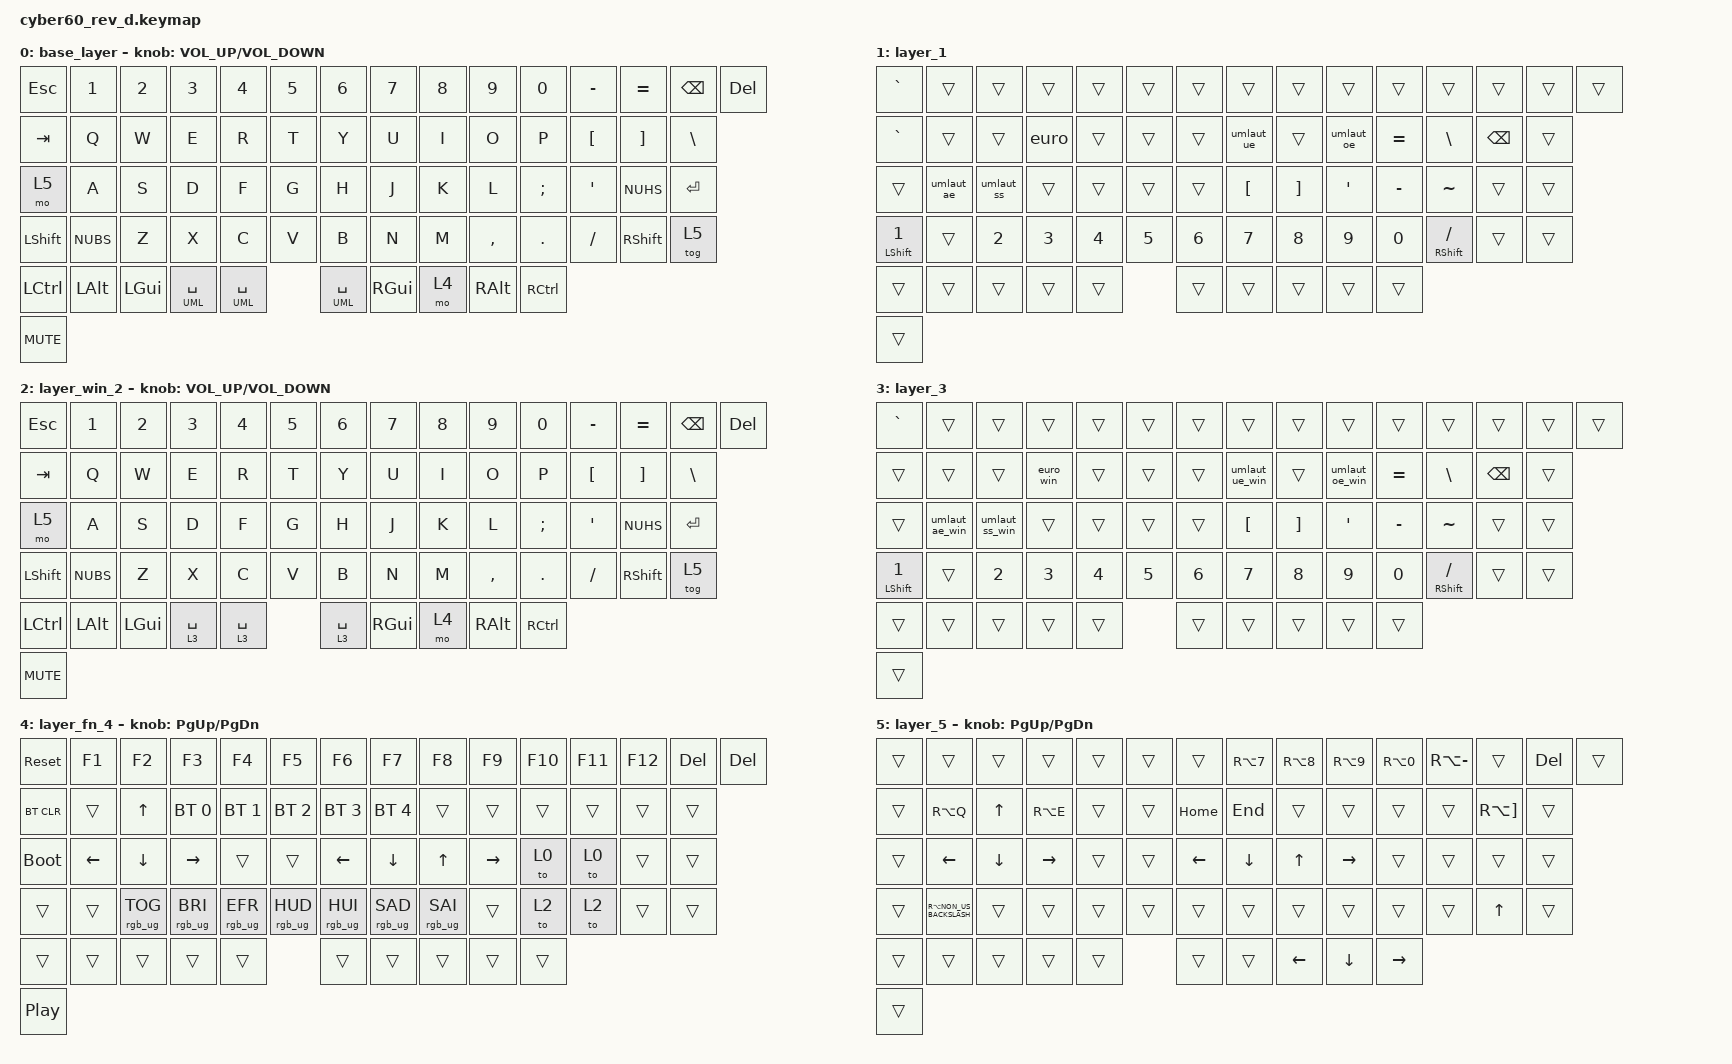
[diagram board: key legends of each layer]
#include <behaviors.dtsi>
#include <dt-bindings/zmk/bt.h>
#include <dt-bindings/zmk/keys.h>
#include <dt-bindings/zmk/rgb.h>
#include <behaviors/unicode.dtsi>

#define FN1 1
#define UML 1
&uc {
  default-mode = <UC_MODE_LINUX>;  // Replace with desired input system.
};
/ {
    macros {
        umlaut_ae: umlaut_ae {
            compatible = "zmk,behavior-macro";
            label = "UMLAUT_AE";
            #binding-cells = <0>;
            wait-ms = <40>;
            tap-ms = <40>;
            bindings
                = <&kp RCTRL>
                , <&kp DQT>
                , <&kp A>;
        };

        umlaut_oe: umlaut_oe {
            compatible = "zmk,behavior-macro";
            label = "UMLAUT_OE";
            #binding-cells = <0>;
            wait-ms = <40>;
            tap-ms = <40>;
            bindings
                = <&kp RCTRL>
                , <&kp DQT>
                , <&kp O>;
        };

        umlaut_ue: umlaut_ue {
            compatible = "zmk,behavior-macro";
            label = "UMLAUT_UE";
            #binding-cells = <0>;
            wait-ms = <40>;
            tap-ms = <40>;
            bindings
                = <&kp RCTRL>
                , <&kp DQT>
                , <&kp U>;
        };

        umlaut_ss: umlaut_ss {
            compatible = "zmk,behavior-macro";
            label = "UMLAUT_SS";
            #binding-cells = <0>;
            wait-ms = <40>;
            tap-ms = <40>;
            bindings
                = <&kp RCTRL>
                , <&kp S>
                , <&kp S>;
        };

        euro: euro {
            compatible = "zmk,behavior-macro";
            label = "EURO";
            #binding-cells = <0>;
            wait-ms = <40>;
            tap-ms = <40>;
            bindings
                = <&kp RCTRL>
                , <&kp EQUAL>
                , <&kp E>;
        };



        umlaut_ae_win: umlaut_ae_win {
            compatible = "zmk,behavior-macro";
            label = "UMLAUT_AE_WIN";
            #binding-cells = <0>;
            wait-ms = <40>;
            tap-ms = <40>;
            bindings
                = <&kp DQT>
                , <&kp A>;
        };

        umlaut_oe_win: umlaut_oe_win {
            compatible = "zmk,behavior-macro";
            label = "UMLAUT_OE_WIN";
            #binding-cells = <0>;
            wait-ms = <40>;
            tap-ms = <40>;
            bindings
                = <&kp DQT>
                , <&kp O>;
        };

        umlaut_ue_win: umlaut_ue_win {
            compatible = "zmk,behavior-macro";
            label = "UMLAUT_UE_WIN";
            #binding-cells = <0>;
            wait-ms = <40>;
            tap-ms = <40>;
            bindings
                = <&kp DQT>
                , <&kp U>;
        };

        umlaut_ss_win: umlaut_ss_win {
            compatible = "zmk,behavior-macro";
            label = "UMLAUT_SS_WIN";
            #binding-cells = <0>;
            wait-ms = <40>;
            tap-ms = <40>;
            bindings
                = <&kp RA(S)>;
        };

        euro_win: euro_win {
            compatible = "zmk,behavior-macro";
            label = "EURO_WIN";
            #binding-cells = <0>;
            wait-ms = <40>;
            tap-ms = <40>;
            bindings
                = <&kp RA(N5)>;
        };


    };

    combos {
        compatible = "zmk,combos";

        vimleft {
            bindings = <&kp LEFT_ARROW>;
            key-positions = <63 35>;
            layers = <0>;
        };

        vimdown {
            bindings = <&kp DOWN_ARROW>;
            key-positions = <63 36>;
            layers = <0>;
        };

        vimup {
            bindings = <&kp UP_ARROW>;
            key-positions = <37 63>;
            layers = <0>;
        };

        vimright {
            bindings = <&kp RIGHT_ARROW>;
            key-positions = <63 38>;
            layers = <0>;
        };

        myhome {
            bindings = <&kp HOME>;
            key-positions = <21 63>;
            layers = <0>;
        };

        mylast {
            bindings = <&kp END>;
            key-positions = <63 22>;
            layers = <0>;
        };
    };

    keymap {
        compatible = "zmk,keymap";

        base_layer {
            // Base layer
            // ------------------------------------------------------------------------------------------
            // | ESC |  1  |  2  |  3  |  4  |  5  |  6  |  7  |  8  |  9  |  0  |  -  |  =  |   BKSP   |
            // |  TAB |  Q  |  W  |  E  |  R  |  T  |  Y  |  U  |  I  |  O  |  P  |  [  |  ]  |   "|"   |
            // | CAPS  |  A  |  S  |  D  |  F  |  G  |  H  |  J  |  K  |  L  |  ;  |  '  |NUHS| ENTER   |
            // | SHIFT |NUBS| Z |  X  |  C  |  V  |  B  |  N  |  M  |  ,  |  .  |  /  |    Shift   | FN |
            // |  LCTL  |  LWIN  |  LALT  | SPACE  | SPACE |    SPACE   |  RALT | FN  |   RWIN  | RCTRL |
            // | Rotary | (<-- Rotary switch) ----------------------------------------------------------- 

            bindings = <
&kp ESC     &kp N1    &kp N2    &kp N3     &kp N4     &kp N5     &kp N6    &kp N7  &kp N8    &kp N9     &kp N0    &kp MINUS  &kp EQUAL  &kp BACKSPACE  &kp DELETE
&kp TAB     &kp Q     &kp W     &kp E      &kp R      &kp T      &kp Y     &kp U   &kp I     &kp O      &kp P     &kp LBKT   &kp RBKT   &kp BSLH
&mo 5       &kp A     &kp S     &kp D      &kp F      &kp G      &kp H     &kp J   &kp K     &kp L      &kp SEMI  &kp SQT    &kp NUHS   &kp RET
&kp LSHFT   &kp NUBS  &kp Z     &kp X      &kp C      &kp V      &kp B     &kp N   &kp M     &kp COMMA  &kp DOT   &kp FSLH   &kp RSHFT  &tog 5
&kp LCTRL   &kp LALT  &kp LGUI  &lt UML SPACE  &lt UML SPACE  &lt UML SPACE  &kp RGUI  &mo 4    &kp RALT  &kp RCTRL
&kp C_MUTE
            >;

            sensor-bindings = <&inc_dec_kp C_VOLUME_UP C_VOLUME_DOWN>;
        };

       
        layer_1 {
            bindings = <
&kp GRAVE      &trans      &trans      &trans      &trans      &trans      &trans       &trans       &trans       &trans       &trans      &trans      &trans      &trans      &trans
&kp GRAVE      &trans      &trans      &euro      &trans      &trans      &trans       &umlaut_ue   &trans       &umlaut_oe   &kp EQUAL      &kp BSLH      &kp BACKSPACE      &trans
&trans      &umlaut_ae  &umlaut_ss  &trans      &trans      &trans      &trans       &kp LBKT       &kp RBKT       &kp SQT       &kp MINUS      &kp TILDE      &trans      &trans
&mt LEFT_SHIFT N1   &trans   &kp N2      &kp N3      &kp N4      &kp N5      &kp N6      &kp N7       &kp N8       &kp N9       &kp N0      &mt RIGHT_SHIFT SLASH      &trans      &trans      
&trans      &trans      &trans      &trans      &trans      &trans      &trans       &trans       &trans       &trans
&trans
            >;
};
layer_win_2 {
            // Base layer
            // ------------------------------------------------------------------------------------------
            // | ESC |  1  |  2  |  3  |  4  |  5  |  6  |  7  |  8  |  9  |  0  |  -  |  =  |   BKSP   |
            // |  TAB |  Q  |  W  |  E  |  R  |  T  |  Y  |  U  |  I  |  O  |  P  |  [  |  ]  |   "|"   |
            // | CAPS  |  A  |  S  |  D  |  F  |  G  |  H  |  J  |  K  |  L  |  ;  |  '  |NUHS| ENTER   |
            // | SHIFT |NUBS| Z |  X  |  C  |  V  |  B  |  N  |  M  |  ,  |  .  |  /  |    Shift   | FN |
            // |  LCTL  |  LWIN  |  LALT  | SPACE  | SPACE |    SPACE   |  RALT | FN  |   RWIN  | RCTRL |
            // | Rotary | (<-- Rotary switch) ----------------------------------------------------------- 

            bindings = <
&kp ESC     &kp N1    &kp N2    &kp N3     &kp N4     &kp N5     &kp N6    &kp N7  &kp N8    &kp N9     &kp N0    &kp MINUS  &kp EQUAL  &kp BACKSPACE  &kp DELETE
&kp TAB     &kp Q     &kp W     &kp E      &kp R      &kp T      &kp Y     &kp U   &kp I     &kp O      &kp P     &kp LBKT   &kp RBKT   &kp BSLH
&mo 5       &kp A     &kp S     &kp D      &kp F      &kp G      &kp H     &kp J   &kp K     &kp L      &kp SEMI  &kp SQT    &kp NUHS   &kp RET
&kp LSHFT   &kp NUBS  &kp Z     &kp X      &kp C      &kp V      &kp B     &kp N   &kp M     &kp COMMA  &kp DOT   &kp FSLH   &kp RSHFT  &tog 5
&kp LCTRL   &kp LALT  &kp LGUI  &lt 3 SPACE  &lt 3 SPACE  &lt 3 SPACE  &kp RGUI  &mo 4    &kp RALT  &kp RCTRL
&kp C_MUTE
            >;

            sensor-bindings = <&inc_dec_kp C_VOLUME_UP C_VOLUME_DOWN>;
        
        };
        layer_3 {
 bindings = <
&kp GRAVE      &trans      &trans      &trans      &trans      &trans      &trans       &trans       &trans       &trans       &trans      &trans      &trans      &trans      &trans
&trans      &trans      &trans      &euro_win      &trans      &trans      &trans       &umlaut_ue_win   &trans       &umlaut_oe_win   &kp EQUAL      &kp BSLH      &kp BACKSPACE      &trans
&trans      &umlaut_ae_win  &umlaut_ss_win  &trans      &trans      &trans      &trans       &kp LBKT      &kp RBKT       &kp SQT       &kp MINUS         &kp TILDE   &trans      &trans
&mt LEFT_SHIFT N1    &trans  &kp N2      &kp N3      &kp N4      &kp N5      &kp N6      &kp N7       &kp N8       &kp N9       &kp N0      &mt RIGHT_SHIFT SLASH     &trans      &trans   
&trans      &trans      &trans      &trans      &trans      &trans      &trans       &trans       &trans       &trans
&trans
            >;
        };
layer_fn_4 {
            // Function layer
            // ------------------------------------------------------------------------------------------
            // | RESET | F1 |  F2 |  F3 |  F4 |  F5 |  F6 |  F7 |  F8 |  F9 | F10 | F11 | F12 |TRNS | DEL |
            // |BT_CLR |TRNS | UP  | BT0 | BT1 | BT2 | BT3 | BT4 | TRNS | TRNS | TRNS | TRNS | TRNS | TRNS|
            // | BOOTL  |LEFT |DOWN |RIGHT|TRNS |TRNS |TRNS | TRNS| TRNS |TRNS| TRNS |TRNS | TRNS | TRNS  |
            // | TRNS |TRNS|TRNS|TRNS|TRNS | TRNS| TRNS | TRNS |  TRNS| TRNS | TRNS| TRNS |   TRNS   |TRNS|
            // |  TRNS | TRNS | TRNS |      TRNS      | TRNS |     TRNS     |  TRNS |  TRNS | TRNS | TRNS |
            // | Rotary | (<-- Rotary switch) ----------------------------------------------------------- 

            bindings = <
&sys_reset   &kp F1    &kp F2           &kp F3           &kp F4           &kp F5           &kp F6           &kp F7           &kp F8           &kp F9     &kp F10  &kp F11  &kp F12  &kp DELETE  &kp DEL
&bt BT_CLR   &trans    &kp UP           &bt BT_SEL 0     &bt BT_SEL 1     &bt BT_SEL 2     &bt BT_SEL 3     &bt BT_SEL 4     &trans           &trans     &trans   &trans   &trans   &trans
&bootloader  &kp LEFT  &kp DOWN         &kp RIGHT        &trans           &trans           &kp LEFT         &kp DOWN         &kp UP_ARROW     &kp RIGHT  &to 0   &to 0   &trans   &trans
&trans       &trans    &rgb_ug RGB_TOG  &rgb_ug RGB_BRI  &rgb_ug RGB_EFR  &rgb_ug RGB_HUD  &rgb_ug RGB_HUI  &rgb_ug RGB_SAD  &rgb_ug RGB_SAI  &trans     &to 2   &to 2   &trans   &trans
&trans       &trans    &trans           &trans           &trans           &trans           &trans           &trans           &trans           &trans
&kp C_PP
            >;

            sensor-bindings = <&inc_dec_kp PAGE_UP PAGE_DOWN>;
        };
 layer_5 {
            bindings = <
&trans  &trans                    &trans        &trans     &trans  &trans  &trans          &kp RA(N7)      &kp RA(N8)      &kp RA(N9)       &kp RA(N0)  &kp RA(MINUS)  &trans        &kp DELETE  &trans
&trans  &kp RA(Q)                 &kp UP_ARROW  &kp RA(E)  &trans  &trans  &kp HOME        &kp END         &trans          &trans           &trans      &trans         &kp RA(RBKT)  &trans
&trans  &kp LEFT                  &kp DOWN      &kp RIGHT  &trans  &trans  &kp LEFT_ARROW  &kp DOWN_ARROW  &kp UP_ARROW    &kp RIGHT_ARROW  &trans      &trans         &trans        &trans
&trans  &kp RA(NON_US_BACKSLASH)  &trans        &trans     &trans  &trans  &trans          &trans          &trans          &trans           &trans      &trans         &kp UP_ARROW  &trans
&trans  &trans                    &trans        &trans     &trans  &trans  &trans          &kp LEFT        &kp DOWN_ARROW  &kp RIGHT
&trans
            >;

            sensor-bindings = <&inc_dec_kp PAGE_UP PAGE_DOWN>;
        };

    };
};
